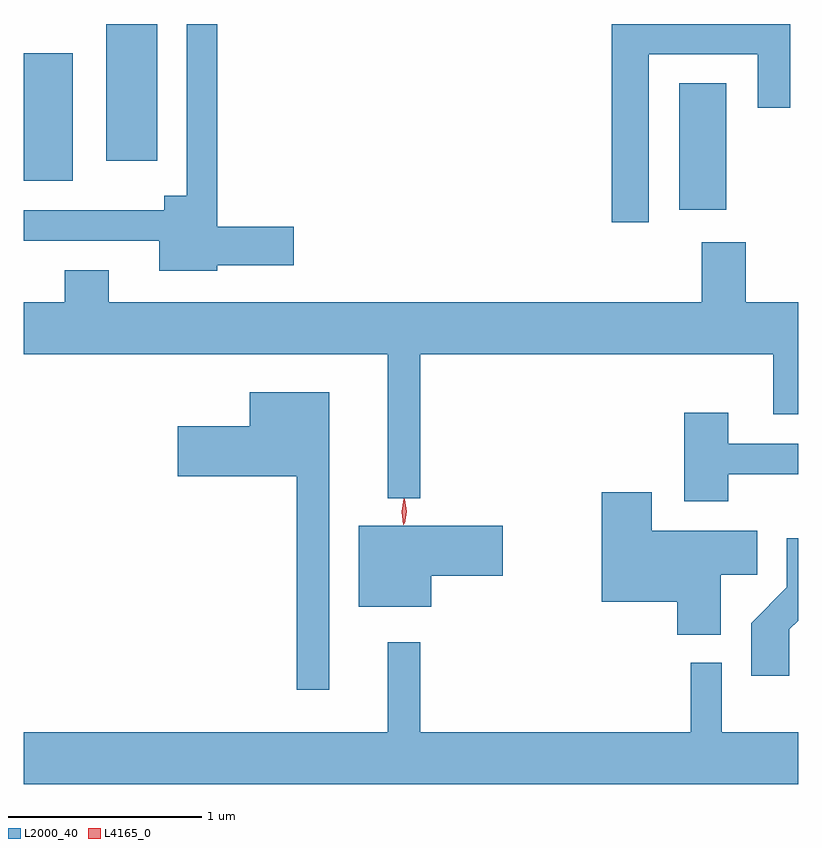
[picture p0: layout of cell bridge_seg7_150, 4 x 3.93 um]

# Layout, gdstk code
import gdstk
lib = gdstk.Library(unit=1e-6, precision=1e-09)
def R(c, l, rs):  # rectangles x0, y0, x1, y1
    for r in rs: c.add(gdstk.rectangle(r[:2], r[2:], *l))
def P(c, l, *ps):  # polygons
    for p in ps: c.add(gdstk.Polygon(p, *l))
L2000_40 = (2000, 40)
L4165_0 = (4165, 0)

bridge_seg7_150 = lib.new_cell('bridge_seg7_150')
R(bridge_seg7_150, L2000_40, [(1599.836,1697.301,1600.079,1697.954), (1596.45,1697.451,1596.704,1698.109), (1596.876,1697.556,1597.139,1698.261)])
P(bridge_seg7_150, L2000_40, [(1597.449,1697.016),(1597.844,1697.016),(1597.844,1697.214),(1597.449,1697.214),(1597.449,1698.261),(1597.291,1698.261),(1597.291,1697.374),(1597.176,1697.374),(1597.176,1697.299),(1596.45,1697.299),(1596.45,1697.141),(1597.151,1697.141),(1597.151,1696.986),(1597.449,1696.986)],
  [(1599.679,1698.106),(1600.241,1698.106),(1600.241,1697.828),(1600.409,1697.828),(1600.409,1698.261),(1599.486,1698.261),(1599.486,1697.236),(1599.679,1697.236)],
  [(1598.499,1696.556),(1600.321,1696.556),(1600.321,1696.246),(1600.45,1696.246),(1600.45,1696.824),(1600.179,1696.824),(1600.179,1697.134),(1599.951,1697.134),(1599.951,1696.824),(1596.889,1696.824),(1596.889,1696.989),(1596.661,1696.989),(1596.661,1696.824),(1596.45,1696.824),(1596.45,1696.556),(1598.331,1696.556),(1598.331,1695.813),(1598.499,1695.813)],
  [(1598.029,1696.359),(1597.616,1696.359),(1597.616,1696.184),(1597.246,1696.184),(1597.246,1695.926),(1597.861,1695.926),(1597.861,1694.823),(1598.029,1694.823)],
  [(1600.089,1695.936),(1600.45,1695.936),(1600.45,1696.094),(1600.089,1696.094),(1600.089,1696.254),(1599.861,1696.254),(1599.861,1695.796),(1600.089,1695.796)],
  [(1600.049,1695.416),(1600.239,1695.416),(1600.239,1695.644),(1599.694,1695.644),(1599.694,1695.844),(1599.436,1695.844),(1599.436,1695.276),(1599.826,1695.276),(1599.826,1695.106),(1600.049,1695.106)],
  [(1598.554,1695.411),(1598.924,1695.411),(1598.924,1695.669),(1598.181,1695.669),(1598.181,1695.251),(1598.554,1695.251)],
  [(1600.404,1695.134),(1600.45,1695.18),(1600.45,1695.604),(1600.391,1695.604),(1600.391,1695.352),(1600.206,1695.167),(1600.206,1694.896),(1600.404,1694.896)],
  [(1600.45,1694.604),(1600.054,1694.604),(1600.054,1694.963),(1599.896,1694.963),(1599.896,1694.604),(1598.499,1694.604),(1598.499,1695.068),(1598.331,1695.068),(1598.331,1694.604),(1596.45,1694.604),(1596.45,1694.336),(1600.45,1694.336)])
P(bridge_seg7_150, L4165_0, [(1598.411,1695.674),(1598.402,1695.742),(1598.413,1695.81),(1598.413,1695.81),(1598.414,1695.81),(1598.422,1695.742),(1598.412,1695.674),(1598.412,1695.674)],
  [(1598.417,1695.68),(1598.408,1695.743),(1598.417,1695.806),(1598.418,1695.807),(1598.418,1695.806),(1598.428,1695.743),(1598.418,1695.68),(1598.418,1695.68)])

lib.write_gds('bridge_seg7_150.gds')
